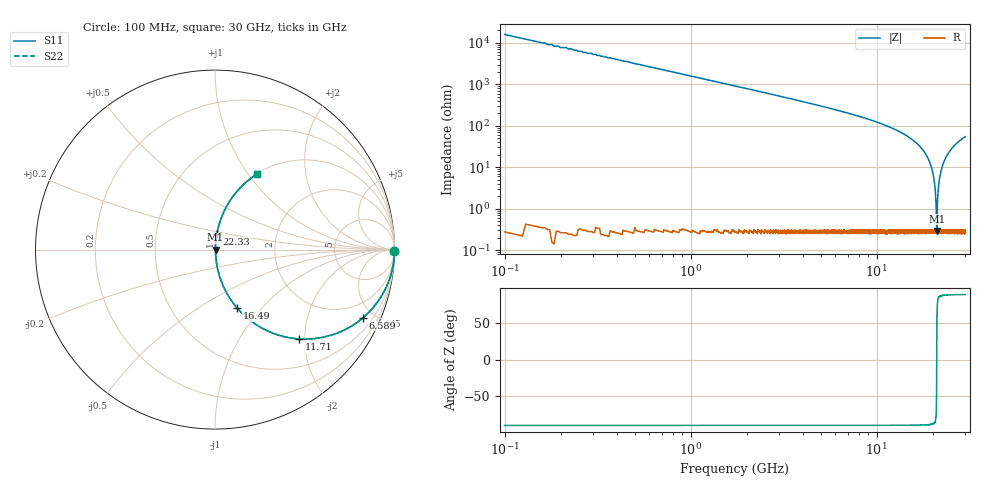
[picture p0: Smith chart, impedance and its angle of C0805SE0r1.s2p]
! AVX Thin Film Operation		Date: April 2012
! Description: Accu-P® Series, Thin Film, SMD, RF Capacitor
! Part Number: 08051J0R1PBTTR
!	100	MHz	-	30.05	GHz
!	Serial	Measurements
#	MHZ	S	MA	R	50
!	S11	S21	S12	S22
!	dB	Phase	dB	Phase	dB	Phase	dB	Phase
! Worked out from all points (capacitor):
!   6010 points, 100 MHz to 30 GHz, reference 50 ohm
!   read as one part in series: C = 100 fF near 249.3 MHz
!   lowest |Z| = 291 mohm at 21.04 GHz (marker M1)
!   series resonance near 21.04 GHz, so ESL is about 570 pH
!   S11 on the Smith chart (normalised r, x): 100 MHz: open; 6.589 GHz: 1.01, -4.36; 11.71 GHz: 1.01, -1.88; 16.49 GHz: 1.01, -0.74; 22.33 GHz: 1.01, +0.18; 30 GHz: 1.01, +1.10
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100  1 -0.4  0.00628 89.6  0.00628 89.6  1 -0.4
542.852  0.999 -2.0  0.034 88.0  0.034 88.0  0.999 -2.0
1353.919  0.996 -4.9  0.085 85.1  0.085 85.1  0.996 -4.9
2796.921  0.984 -10.1  0.176 79.8  0.176 79.8  0.984 -10.1
5085.821  0.947 -18.7  0.321 71.2  0.321 71.2  0.947 -18.7
6588.534  0.908 -24.6  0.417 65.3  0.417 65.3  0.908 -24.6
10066.67  0.772 -39.3  0.634 50.6  0.634 50.6  0.772 -39.3
11708.7  0.683 -46.7  0.728 43.1  0.728 43.1  0.683 -46.7
15052.49  0.458 -62.5  0.887 27.2  0.887 27.2  0.458 -62.5
16485.54  0.348 -69.2  0.935 20.4  0.935 20.4  0.348 -69.2
18674.92  0.177 -78.9  0.981 10.2  0.981 10.2  0.177 -78.9
20038.31  0.073 -83.6  0.995 4.2  0.995 4.2  0.073 -83.6
20620.49  0.03 -83.0  0.997 1.7  0.997 1.7  0.03 -83.0
20789.67  0.018 -80.1  0.997 1.0  0.997 1.0  0.018 -80.1
20948.89  0.00695 -65.9  0.997 0.4  0.997 0.4  0.00695 -65.9
21038.46  0.0028 1.4  0.997 -0.0  0.997 -0.0  0.0028 1.4
21133  0.00739 67.4  0.997 -0.4  0.997 -0.4  0.00739 67.4
21332.03  0.021 81.2  0.997 -1.2  0.997 -1.2  0.021 81.2
21516.14  0.034 83.4  0.997 -1.9  0.997 -1.9  0.034 83.4
22327.21  0.09 83.1  0.993 -5.1  0.993 -5.1  0.09 83.1
25019.15  0.254 74.7  0.964 -14.7  0.964 -14.7  0.254 74.7
30000  0.48 61.0  0.875 -28.7  0.875 -28.7  0.48 61.0
